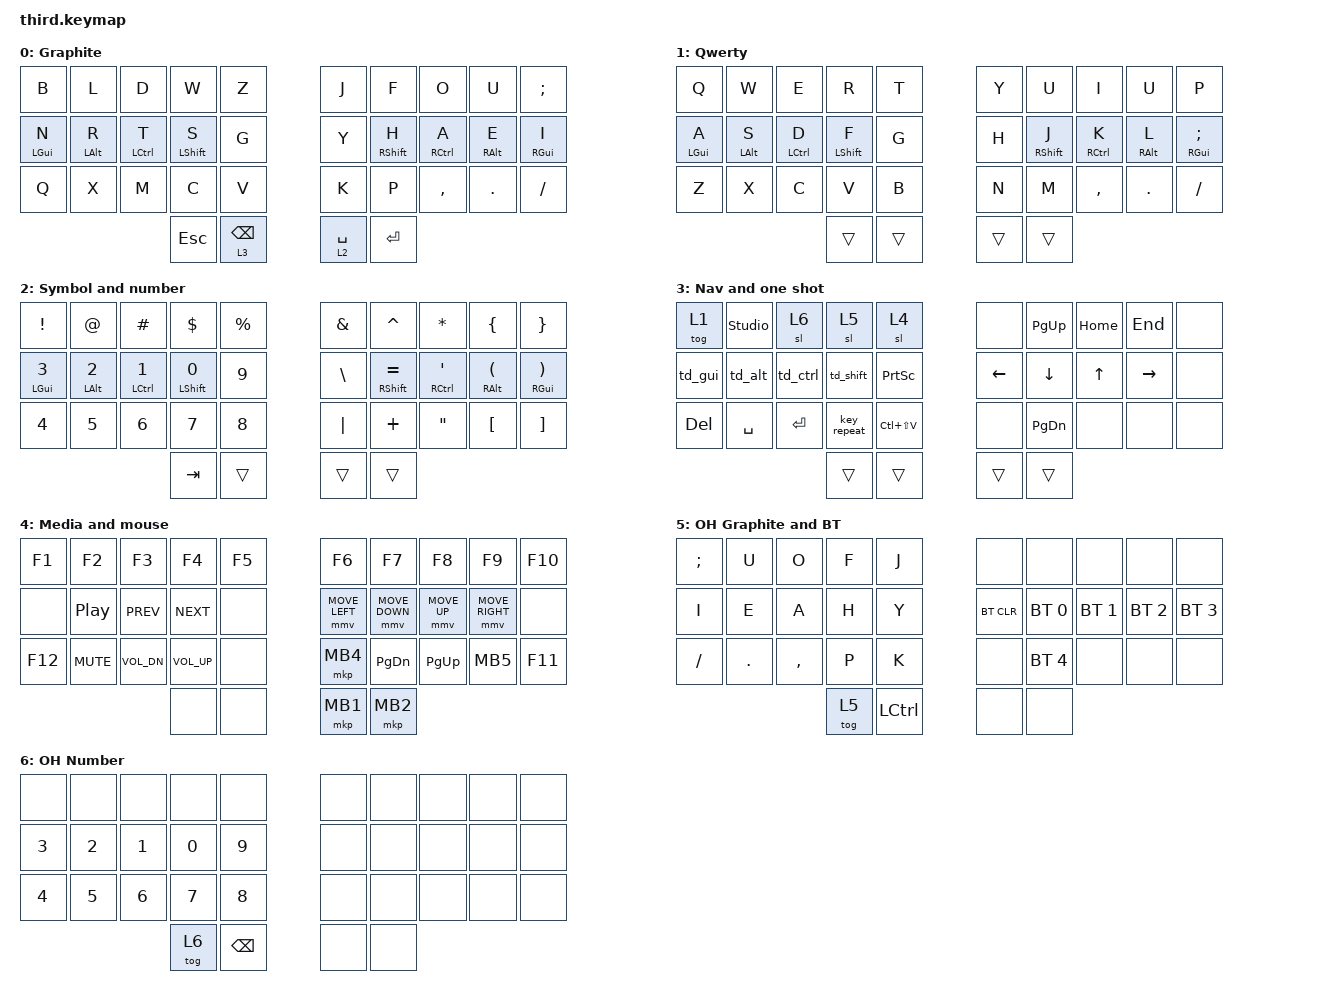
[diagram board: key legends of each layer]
#include <behaviors.dtsi>
#include <dt-bindings/zmk/keys.h>
#include <dt-bindings/zmk/bt.h>

// https://zmk.dev/docs/keymaps/behaviors/mouse-emulation
#define ZMK_POINTING_DEFAULT_MOVE_VAL 2400 //d 1200
#include <dt-bindings/zmk/pointing.h>

/ {
    macros {
        l_ram: l_ram {
            compatible = "zmk,behavior-macro";
            #binding-cells = <0>;
            bindings = <&macro_press &kp LALT>, <&macro_press &kp PSCRN>, <&macro_tap &kp F>, <&macro_release &kp PSCRN>, <&macro_release &kp PSCRN>;
        };
    };

    // 0  1  2  3  4       5  6  7  8  9
    // 10 11 12 13 14      15 16 17 18 19
    // 20 21 22 23 24      25 26 27 28 29
    //          30 31      32 33
    combos {
        compatible = "zmk,combos";

        grave {
            timeout-ms = <50>;
            key-positions = <1 2>;
            bindings = <&kp GRAVE>;
            layers = <0>;
        };

        tilde {
            timeout-ms = <50>;
            key-positions = <21 22>;
            bindings = <&kp TILDE>;
            layers = <0>;
        };

        minus {
            timeout-ms = <50>;
            key-positions = <7 8>;
            bindings = <&kp MINUS>;
            layers = <0>;
        };

        under {
            timeout-ms = <50>;
            key-positions = <27 28>;
            bindings = <&kp UNDER>;
            layers = <0>;
        };

        caps_word {
            timeout-ms = <50>;
            key-positions = <13 16>;
            bindings = <&caps_word>;
            layers = <0>;
        };

        caps_lock {
            timeout-ms = <50>;
            key-positions = <3 6>;
            bindings = <&kp CAPS>;
            layers = <0>;
        };

        studio_unlock {
            timeout-ms = <50>;
            key-positions = <0 1>;
            bindings = <&studio_unlock>;
            layers = <4>;
        };

        l_ram {
            timeout-ms = <50>;
            key-positions = <7 8>;
            bindings = <&l_ram>;
            layers = <4>;
        };

        l4 {
            timeout-ms = <50>;
            key-positions = <31 32>;
            bindings = <&mo 4>;
            layers = <0>;
            slow-release;
        };
    };

    behaviors {
        mt: mod_tap {
            compatible = "zmk,behavior-hold-tap";
            #binding-cells = <2>;
            flavor = "tap-preferred";
            tapping-term-ms = <200>;
            quick-tap-ms = <250>;
            bindings = <&kp>, <&kp>;
            display-name = "Mod-Tap";
        };
        lt: layer_tap {
            compatible = "zmk,behavior-hold-tap";
            #binding-cells = <2>;
            flavor = "tap-preferred";
            tapping-term-ms = <200>;
            quick-tap-ms = <250>;
            bindings = <&mo>, <&kp>;
            display-name = "Layer-Tap";
        };

        td_shift: tap_dance_shift {
            compatible = "zmk,behavior-tap-dance";
            #binding-cells = <0>;
            tapping-term-ms = <200>;
            bindings = <&sk LSHFT>, <&kp LSHFT>;
        };
        td_gui: tap_dance_gui {
            compatible = "zmk,behavior-tap-dance";
            #binding-cells = <0>;
            tapping-term-ms = <200>;
            bindings = <&sk LGUI>, <&kp LGUI>;
        };
        td_alt: tap_dance_alt {
            compatible = "zmk,behavior-tap-dance";
            #binding-cells = <0>;
            tapping-term-ms = <200>;
            bindings = <&sk LALT>, <&kp LALT>;
        };
        td_ctrl: tap_dance_ctrl {
            compatible = "zmk,behavior-tap-dance";
            #binding-cells = <0>;
            tapping-term-ms = <200>;
            bindings = <&sk LCTRL>, <&kp LCTRL>;
        };
    };

    keymap {
        compatible = "zmk,keymap";

        // 0
        graphite {
            display-name = "Graphite"; // displayed in zmk studio
            bindings = <
//        ┌───────────┬───────────┬───────────┬───────────┬───────────┐   ┌──────────┬───────────┬───────────┬───────────┬───────────┐
//        │     B     │     L     │     D     │     W     │     Z     │   │    J     │     F     │     O     │     U     │     ;     │
//        ├───────────┼───────────┼───────────┼───────────┼───────────┤   ├──────────┼───────────┼───────────┼───────────┼───────────┤
//        │ mt lgui N │ mt lalt R │ mt lctl T │ mt lsft S │     G     │   │    Y     │ mt rsft H │ mt rctl A │ mt ralt E │ mt rgui I │
//        ├───────────┼───────────┼───────────┼───────────┼───────────┤   ├──────────┼───────────┼───────────┼───────────┼───────────┤
//        │     Q     │     X     │     M     │     C     │     V     │   │    K     │     P     │     ,     │     .     │     /     │
//        └───────────┴───────────┴───────────┼───────────┼───────────┤   ├──────────┼───────────┼───────────┴───────────┴───────────┘
//                                            │    esc    │ lt 3 bspc │   │ lt 2 spc │    ent    │
//                                            └───────────┴───────────┘   └──────────┴───────────┘
      &kp B        &kp L        &kp D         &kp W         &kp Z            &kp J         &kp F         &kp O         &kp U        &kp SEMI
      &mt LGUI N   &mt LALT R   &mt LCTRL T   &mt LSHFT S   &kp G            &kp Y         &mt RSHFT H   &mt RCTRL A   &mt RALT E   &mt RGUI I
      &kp Q        &kp X        &kp M         &kp C         &kp V            &kp K         &kp P         &kp COMMA     &kp DOT      &kp FSLH
                                              &kp ESC       &lt 3 BSPC       &lt 2 SPACE   &kp ENTER
            >;
        };

        // 1
        qwerty {
            display-name = "Qwerty";
            bindings = <
//        ┌───────────┬───────────┬───────────┬───────────┬─────┐   ┌─────┬───────────┬───────────┬───────────┬───────────┐
//        │     Q     │     W     │     E     │     R     │  T  │   │  Y  │     U     │     I     │     U     │     P     │
//        ├───────────┼───────────┼───────────┼───────────┼─────┤   ├─────┼───────────┼───────────┼───────────┼───────────┤
//        │ mt lgui A │ mt lalt S │ mt lctl D │ mt lsft F │  G  │   │  H  │ mt rsft J │ mt rctl K │ mt ralt L │ mt rgui ; │
//        ├───────────┼───────────┼───────────┼───────────┼─────┤   ├─────┼───────────┼───────────┼───────────┼───────────┤
//        │     Z     │     X     │     C     │     V     │  B  │   │  N  │     M     │     ,     │     .     │     /     │
//        └───────────┴───────────┴───────────┼───────────┼─────┤   ├─────┼───────────┼───────────┴───────────┴───────────┘
//                                            │           │     │   │     │           │
//                                            └───────────┴─────┘   └─────┴───────────┘
      &kp Q        &kp W        &kp E         &kp R         &kp T        &kp Y    &kp U         &kp I         &kp U        &kp P
      &mt LGUI A   &mt LALT S   &mt LCTRL D   &mt LSHFT F   &kp G        &kp H    &mt RSHFT J   &mt RCTRL K   &mt RALT L   &mt RGUI SEMI
      &kp Z        &kp X        &kp C         &kp V         &kp B        &kp N    &kp M         &kp COMMA     &kp DOT      &kp FSLH
                                              &trans        &trans       &trans   &trans
            >;
        };

        // 2
        symbol {
            display-name = "Symbol and number";
            bindings = <
//        ┌───────────┬───────────┬───────────┬───────────┬─────┐   ┌─────┬───────────┬───────────┬───────────┬───────────┐
//        │     !     │     @     │     #     │     $     │  %  │   │  &  │     ^     │     *     │     {     │     }     │
//        ├───────────┼───────────┼───────────┼───────────┼─────┤   ├─────┼───────────┼───────────┼───────────┼───────────┤
//        │ mt lgui 3 │ mt lalt 2 │ mt lctl 1 │ mt lsft 0 │  9  │   │  \  │ mt rsft = │ mt rctl ' │ mt ralt ( │ mt rgui ) │
//        ├───────────┼───────────┼───────────┼───────────┼─────┤   ├─────┼───────────┼───────────┼───────────┼───────────┤
//        │     4     │     5     │     6     │     7     │  8  │   │  |  │     +     │     "     │     [     │     ]     │
//        └───────────┴───────────┴───────────┼───────────┼─────┤   ├─────┼───────────┼───────────┴───────────┴───────────┘
//                                            │    tab    │     │   │     │           │
//                                            └───────────┴─────┘   └─────┴───────────┘
      &kp EXCL      &kp AT        &kp HASH       &kp DLLR       &kp PRCNT       &kp AMPS   &kp CARET         &kp ASTRK       &kp LBRC        &kp RBRC
      &mt LGUI N3   &mt LALT N2   &mt LCTRL N1   &mt LSHFT N0   &kp N9          &kp BSLH   &mt RSHFT EQUAL   &mt RCTRL SQT   &mt RALT LPAR   &mt RGUI RPAR
      &kp N4        &kp N5        &kp N6         &kp N7         &kp N8          &kp PIPE   &kp PLUS          &kp DQT         &kp LBKT        &kp RBKT
                                                 &kp TAB        &trans          &trans     &trans
            >;
        };

        // 3
        nav {
            display-name = "Nav and one shot";
            bindings = <
//        ┌─────────┬────────────────┬──────────┬───────────┬───────────────┐   ┌──────┬──────┬──────┬──────┬─────┐
//        │  tog 1  │ &studio_unlock │   sl 6   │   sl 5    │     sl 4      │   │      │ pgup │ home │ end  │     │
//        ├─────────┼────────────────┼──────────┼───────────┼───────────────┤   ├──────┼──────┼──────┼──────┼─────┤
//        │ &td_gui │    &td_alt     │ &td_ctrl │ &td_shift │     pscr      │   │ left │ down │  up  │ rght │     │
//        ├─────────┼────────────────┼──────────┼───────────┼───────────────┤   ├──────┼──────┼──────┼──────┼─────┤
//        │   del   │      spc       │   ent    │   keyr    │ lctl(lsft(V)) │   │      │ pgdn │      │      │     │
//        └─────────┴────────────────┴──────────┼───────────┼───────────────┤   ├──────┼──────┼──────┴──────┴─────┘
//                                              │           │               │   │      │      │
//                                              └───────────┴───────────────┘   └──────┴──────┘
      &tog 1    &studio_unlock   &sl 6       &sl 5         &sl 4               &none      &kp PG_UP   &kp HOME   &kp END     &none
      &td_gui   &td_alt          &td_ctrl    &td_shift     &kp PSCRN           &kp LEFT   &kp DOWN    &kp UP     &kp RIGHT   &none
      &kp DEL   &kp SPACE        &kp ENTER   &key_repeat   &kp LC(LS(V))       &none      &kp PG_DN   &none      &none       &none
                                             &trans        &trans              &trans     &trans
            >;
        };

        // 4
        media {
            display-name = "Media and mouse";
            bindings = <
//        ┌─────┬──────┬──────┬──────┬─────┐   ┌────────────────┬────────────────┬──────────────┬────────────────┬─────┐
//        │ f1  │  f2  │  f3  │  f4  │ f5  │   │       f6       │       f7       │      f8      │       f9       │ f10 │
//        ├─────┼──────┼──────┼──────┼─────┤   ├────────────────┼────────────────┼──────────────┼────────────────┼─────┤
//        │     │ play │ prev │ next │     │   │ &mmv MOVE_left │ &mmv MOVE_down │ &mmv MOVE_up │ &mmv MOVE_rght │     │
//        ├─────┼──────┼──────┼──────┼─────┤   ├────────────────┼────────────────┼──────────────┼────────────────┼─────┤
//        │ f12 │ mute │ vold │ volu │     │   │      mbck      │      pgdn      │     pgup     │      mfwd      │ f11 │
//        └─────┴──────┴──────┼──────┼─────┤   ├────────────────┼────────────────┼──────────────┴────────────────┴─────┘
//                            │      │     │   │      lclk      │      rclk      │
//                            └──────┴─────┘   └────────────────┴────────────────┘
      &kp F1    &kp F2       &kp F3         &kp F4         &kp F5       &kp F6           &kp F7           &kp F8         &kp F9            &kp F10
      &none     &kp C_PP     &kp C_PREV     &kp C_NEXT     &none        &mmv MOVE_LEFT   &mmv MOVE_DOWN   &mmv MOVE_UP   &mmv MOVE_RIGHT   &none
      &kp F12   &kp C_MUTE   &kp C_VOL_DN   &kp C_VOL_UP   &none        &mkp MB4         &kp PG_DN        &kp PG_UP      &kp MB5           &kp F11
                                            &none          &none        &mkp MB1         &mkp MB2
            >;
        };

        // 5
        /* https://zmk.dev/docs/keymaps/behaviors/bluetooth */
        oh_graphite {
            display-name = "OH Graphite and BT";
            bindings =<
//        ┌───┬───┬───┬───────┬──────┐   ┌────────┬──────────┬──────────┬──────────┬──────────┐
//        │ ; │ U │ O │   F   │  J   │   │        │          │          │          │          │
//        ├───┼───┼───┼───────┼──────┤   ├────────┼──────────┼──────────┼──────────┼──────────┤
//        │ I │ E │ A │   H   │  Y   │   │ bt_clr │ bt_sel 0 │ bt_sel 1 │ bt_sel 2 │ bt_sel 3 │
//        ├───┼───┼───┼───────┼──────┤   ├────────┼──────────┼──────────┼──────────┼──────────┤
//        │ / │ . │ , │   P   │  K   │   │        │ bt_sel 4 │          │          │          │
//        └───┴───┴───┼───────┼──────┤   ├────────┼──────────┼──────────┴──────────┴──────────┘
//                    │ tog 5 │ lctl │   │        │          │
//                    └───────┴──────┘   └────────┴──────────┘
      &kp SEMI   &kp U     &kp O       &kp F    &kp J           &none        &none          &none          &none          &none
      &kp I      &kp E     &kp A       &kp H    &kp Y           &bt BT_CLR   &bt BT_SEL 0   &bt BT_SEL 1   &bt BT_SEL 2   &bt BT_SEL 3
      &kp FSLH   &kp DOT   &kp COMMA   &kp P    &kp K           &none        &bt BT_SEL 4   &none          &none          &none
                                       &tog 5   &kp LCTRL       &none        &none
            >;
        };

        // 6
        oh_num {
            display-name = "OH Number";
            bindings =<
//        ┌─────┬─────┬─────┬───────┬──────┐   ┌─────┬─────┬─────┬─────┬─────┐
//        │     │     │     │       │      │   │     │     │     │     │     │
//        ├─────┼─────┼─────┼───────┼──────┤   ├─────┼─────┼─────┼─────┼─────┤
//        │  3  │  2  │  1  │   0   │  9   │   │     │     │     │     │     │
//        ├─────┼─────┼─────┼───────┼──────┤   ├─────┼─────┼─────┼─────┼─────┤
//        │  4  │  5  │  6  │   7   │  8   │   │     │     │     │     │     │
//        └─────┴─────┴─────┼───────┼──────┤   ├─────┼─────┼─────┴─────┴─────┘
//                          │ tog 6 │ bspc │   │     │     │
//                          └───────┴──────┘   └─────┴─────┘
      &none    &none    &none    &none    &none          &none   &none   &none   &none   &none
      &kp N3   &kp N2   &kp N1   &kp N0   &kp N9         &none   &none   &none   &none   &none
      &kp N4   &kp N5   &kp N6   &kp N7   &kp N8         &none   &none   &none   &none   &none
                                 &tog 6   &kp BSPC       &none   &none
            >;
        };

        // for studio
        extra {
            status = "reserved";
        };
        extra2 {
            status = "reserved";
        };

    };
};
